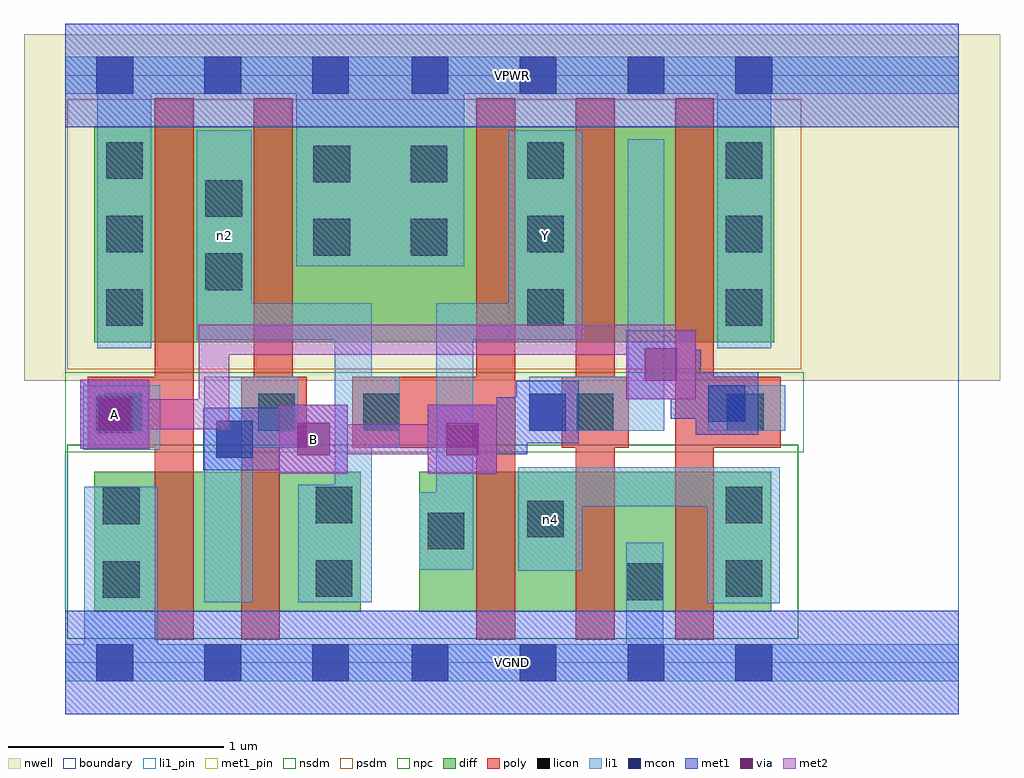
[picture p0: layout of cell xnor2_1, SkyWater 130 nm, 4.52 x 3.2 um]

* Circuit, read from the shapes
.subckt xnor2_1 A B VGND VPWR Y n2 n4
XM1 n1 A VGND VSUBS sky130_fd_pr__nfet_01v8 w=0.65 l=0.18
XM2 n2 B n1 VSUBS sky130_fd_pr__nfet_01v8 w=0.65 l=0.18
XM3 n4 n2 Y VSUBS sky130_fd_pr__nfet_01v8 w=0.65 l=0.18
XM4 VGND B n4 VSUBS sky130_fd_pr__nfet_01v8 w=0.65 l=0.18
XM5 n4 A VGND VSUBS sky130_fd_pr__nfet_01v8 w=0.65 l=0.18
XM6 n2 A VPWR n3 sky130_fd_pr__pfet_01v8 w=1 l=0.18
XM7 VPWR B n2 n3 sky130_fd_pr__pfet_01v8 w=1 l=0.18
XM8 Y n2 VPWR n3 sky130_fd_pr__pfet_01v8 w=1 l=0.18
XM9 n5 B Y n3 sky130_fd_pr__pfet_01v8 w=1 l=0.18
XM10 VPWR A n5 n3 sky130_fd_pr__pfet_01v8 w=1 l=0.18
.ends

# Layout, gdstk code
import gdstk
lib = gdstk.Library(unit=1e-6, precision=1e-09)
def R(c, l, rs):  # rectangles x0, y0, x1, y1
    for r in rs: c.add(gdstk.rectangle(r[:2], r[2:], *l))
def A(c, l, x, y, w, h, nx, ny, dx, dy):  # array of equal rectangles
    R(c, l, [(x+i*dx, y+j*dy, x+i*dx+w, y+j*dy+h) for i in range(nx) for j in range(ny)])
nwell = (64, 20)
diff = (65, 20)
poly = (66, 20)
licon = (66, 44)
li1_pin = (67, 16)
li1 = (67, 20)
mcon = (67, 44)
met1_pin = (68, 16)
met1 = (68, 20)
via = (68, 44)
met2 = (69, 20)
nsdm = (93, 44)
psdm = (94, 20)
npc = (95, 20)
boundary = (235, 4)

xnor2_1 = lib.new_cell('xnor2_1')
R(xnor2_1, nwell, [(-0.19,1.305,4.33,2.91), (0,1.305,4.14,2.91)])
R(xnor2_1, diff, [(0.135,0.235,1.37,0.885), (1.64,0.235,3.27,0.885), (0.135,1.485,3.285,2.485)])
A(xnor2_1, poly, 1.905, 0.105, 0.18, 2.51, 3, 1, 0.46, 0)
R(xnor2_1, poly, [(0.415,0.105,0.595,2.615), (0.815,0.105,0.995,1.325), (0.105,0.995,0.595,1.325), (0.815,0.995,1.12,1.325), (0.875,0.995,1.055,2.615), (1.33,0.995,2.085,1.325), (2.3,0.995,2.61,1.325), (2.825,0.995,3.315,1.325)])
A(xnor2_1, licon, 0.19, 1.56, 0.17, 0.17, 1, 3, 0, 0.34)
A(xnor2_1, licon, 2.14, 1.56, 0.17, 0.17, 1, 3, 0, 0.34)
A(xnor2_1, licon, 3.06, 1.56, 0.17, 0.17, 1, 3, 0, 0.34)
R(xnor2_1, licon, [(2.6,0.29,2.77,0.46), (0.175,0.3,0.345,0.47), (1.16,0.305,1.33,0.475), (3.06,0.305,3.23,0.475), (1.68,0.525,1.85,0.695), (2.14,0.58,2.31,0.75), (0.175,0.64,0.345,0.81), (1.16,0.645,1.33,0.815), (3.06,0.645,3.23,0.815), (0.185,1.075,0.355,1.245), (0.895,1.075,1.065,1.245), (1.38,1.075,1.55,1.245), (2.37,1.075,2.54,1.245), (3.065,1.075,3.235,1.245), (0.65,1.725,0.82,1.895), (1.15,1.885,1.32,2.055), (1.6,1.885,1.77,2.055), (0.65,2.065,0.82,2.235), (1.15,2.225,1.32,2.395), (1.6,2.225,1.77,2.395)])
R(xnor2_1, li1_pin, [(2.055,1.495,2.395,2.465)])
R(xnor2_1, li1, [(0,-0.085,4.14,0.085), (0.09,-0.085,0.43,0.815), (2.6,-0.085,2.77,0.555), (2.975,0.275,3.31,0.905), (0.645,0.28,0.87,1.325), (1.08,0.28,1.42,0.825), (1.25,0.28,1.42,1.665), (2.1,0.425,2.395,0.905), (1.64,0.43,1.89,0.79), (1.72,0.43,1.89,1.665), (2.1,0.725,3.31,0.905), (0.085,0.985,0.44,1.285), (0.645,0.995,1.08,1.325), (1.25,0.995,1.55,1.325), (2.15,1.075,2.775,1.325), (2.605,1.075,2.775,2.425), (2.98,1.075,3.335,1.285), (0.15,1.455,0.4,2.805), (3.02,1.455,3.27,2.805), (0.61,1.495,0.865,2.465), (0.61,1.495,1.42,1.665), (1.72,1.495,2.395,1.665), (2.055,1.495,2.395,2.465), (1.07,1.835,1.85,2.805), (0,2.635,4.14,2.805)])
A(xnor2_1, mcon, 0.145, -0.085, 0.17, 0.17, 3, 2, 0.5, 2.72)
A(xnor2_1, mcon, 1.605, -0.085, 0.17, 0.17, 4, 2, 0.5, 2.72)
R(xnor2_1, mcon, [(0.7,0.95,0.87,1.12), (0.145,1.065,0.315,1.235), (2.15,1.075,2.32,1.245), (2.98,1.115,3.15,1.285)])
R(xnor2_1, met1_pin, [(0,-0.24,4.14,0.24), (0.99,0.875,1.31,1.195), (0.07,0.99,0.39,1.31), (0,2.48,4.14,2.96)])
R(xnor2_1, met1, [(0,-0.24,4.14,0.24), (0.99,0.875,1.31,1.195), (1.68,0.875,2,1.195), (0.64,0.89,0.93,1.18), (0.93,0.89,0.99,1.18), (0.715,0.965,0.99,1.105), (0.85,0.965,1.22,1.105), (1.77,0.965,2.14,1.105), (2,0.965,2.14,1.23), (0.07,0.99,0.39,1.31), (0.085,1.005,0.375,1.295), (2.09,1.015,2.38,1.305), (2.92,1.055,3.21,1.345), (2,1.09,2.305,1.23), (2.805,1.13,3.135,1.27), (2.805,1.13,2.945,1.45), (2.6,1.22,2.92,1.54), (2.69,1.31,2.945,1.45), (0,2.48,4.14,2.96)])
R(xnor2_1, via, [(1.075,0.96,1.225,1.11), (1.765,0.96,1.915,1.11), (0.155,1.075,0.305,1.225), (2.685,1.305,2.835,1.455)])
R(xnor2_1, met2, [(0.99,0.875,1.31,1.195), (1.68,0.875,2,1.195), (1.08,0.965,1.91,1.105), (0.07,0.99,0.39,1.31), (0.16,1.08,0.76,1.22), (0.62,1.08,0.76,1.565), (2.6,1.22,2.92,1.54), (2.69,1.31,2.83,1.565), (0.62,1.425,2.83,1.565)])
R(xnor2_1, nsdm, [(0.01,0.11,3.395,1.01)])
R(xnor2_1, psdm, [(0.01,1.36,3.41,2.61)])
R(xnor2_1, npc, [(0,0.975,3.42,1.345)])
R(xnor2_1, boundary, [(0,0,4.14,2.72)])
xnor2_1.add(gdstk.Label('Y', (2.225,1.98), layer=67, texttype=5))
xnor2_1.add(gdstk.Label('n4', (2.247,0.665), layer=67, texttype=5))
xnor2_1.add(gdstk.Label('n2', (0.737,1.98), layer=67, texttype=5))
xnor2_1.add(gdstk.Label('B', (1.15,1.035), layer=68, texttype=5))
xnor2_1.add(gdstk.Label('A', (0.23,1.15), layer=68, texttype=5))
xnor2_1.add(gdstk.Label('VPWR', (2.07,2.72), layer=68, texttype=5))
xnor2_1.add(gdstk.Label('VGND', (2.07,0), layer=68, texttype=5))
xnor2_1.add(gdstk.Label('Y', (2.225,1.98), layer=67, texttype=16))
xnor2_1.add(gdstk.Label('B', (1.15,1.035), layer=68, texttype=16))
xnor2_1.add(gdstk.Label('A', (0.23,1.15), layer=68, texttype=16))
xnor2_1.add(gdstk.Label('VPWR', (2.07,2.72), layer=68, texttype=16))
xnor2_1.add(gdstk.Label('VGND', (2.07,0), layer=68, texttype=16))

lib.write_gds('xnor2_1.gds')
